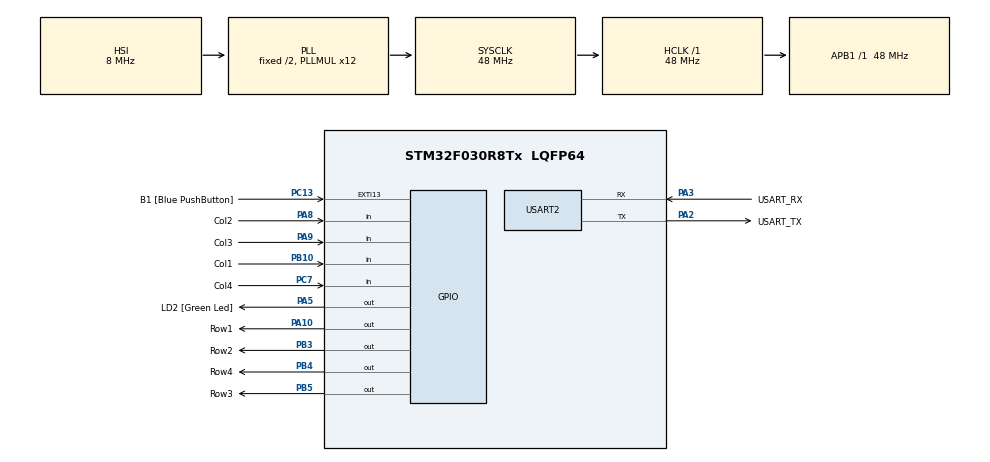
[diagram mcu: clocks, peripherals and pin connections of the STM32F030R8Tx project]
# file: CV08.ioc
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Mcu.Family=STM32F0
Mcu.Name=STM32F030R8Tx
Mcu.Package=LQFP64
NVIC.TIM3_IRQn=true\:0\:0\:false\:false\:true\:true\:true
PA10.GPIO_Label=Row1
PA10.GPIO_ModeDefaultOutputPP=GPIO_MODE_OUTPUT_OD
PA10.Signal=GPIO_Output
PA13.GPIO_Label=TMS
PA13.Mode=Serial_Wire
PA13.Signal=SYS_SWDIO
PA14.GPIO_Label=TCK
PA14.Mode=Serial_Wire
PA14.Signal=SYS_SWCLK
PA2.GPIO_Label=USART_TX
PA2.GPIO_Mode=GPIO_MODE_AF_PP
PA2.GPIO_PuPd=GPIO_NOPULL
PA2.GPIO_Speed=GPIO_SPEED_FREQ_LOW
PA2.Mode=Asynchronous
PA2.Signal=USART2_TX
PA3.GPIO_Label=USART_RX
PA3.GPIO_Mode=GPIO_MODE_AF_PP
PA3.GPIO_PuPd=GPIO_NOPULL
PA3.GPIO_Speed=GPIO_SPEED_FREQ_LOW
PA3.Mode=Asynchronous
PA3.Signal=USART2_RX
PA5.GPIO_Label=LD2 [Green Led]
PA5.GPIO_Mode=GPIO_MODE_OUTPUT_PP
PA5.GPIO_PuPd=GPIO_NOPULL
PA5.GPIO_Speed=GPIO_SPEED_FREQ_LOW
PA5.Signal=GPIO_Output
PA8.GPIO_Label=Col2
PA8.GPIO_PuPd=GPIO_PULLUP
PA8.Signal=GPIO_Input
PA9.GPIO_Label=Col3
PA9.GPIO_PuPd=GPIO_PULLUP
PA9.Signal=GPIO_Input
PB10.GPIO_Label=Col1
PB10.GPIO_PuPd=GPIO_PULLUP
PB10.Signal=GPIO_Input
PB3.GPIO_Label=Row2
PB3.GPIO_ModeDefaultOutputPP=GPIO_MODE_OUTPUT_OD
PB3.Signal=GPIO_Output
PB4.GPIO_Label=Row4
PB4.GPIO_ModeDefaultOutputPP=GPIO_MODE_OUTPUT_OD
PB4.Signal=GPIO_Output
PB5.GPIO_Label=Row3
PB5.GPIO_ModeDefaultOutputPP=GPIO_MODE_OUTPUT_OD
PB5.Signal=GPIO_Output
PC13.GPIO_Label=B1 [Blue PushButton]
PC13.GPIO_ModeDefaultEXTI=GPIO_MODE_IT_FALLING
PC13.Signal=GPXTI13
PC14-OSC32_IN.Mode=LSE-External-Oscillator
PC14-OSC32_IN.Signal=RCC_OSC32_IN
PC15-OSC32_OUT.Mode=LSE-External-Oscillator
PC15-OSC32_OUT.Signal=RCC_OSC32_OUT
PC7.GPIO_Label=Col4
PC7.GPIO_PuPd=GPIO_PULLUP
PC7.Signal=GPIO_Input
PF0-OSC_IN.Mode=HSE-External-Clock-Source
PF0-OSC_IN.Signal=RCC_OSC_IN
PF1-OSC_OUT.Signal=RCC_OSC_OUT
ProjectManager.HeapSize=0x200
ProjectManager.StackSize=0x400
ProjectManager.TargetToolchain=STM32CubeIDE
RCC.AHBFreq_Value=48000000
RCC.APB1Freq_Value=48000000
RCC.APB1TimFreq_Value=48000000
RCC.HCLKFreq_Value=48000000
RCC.PLLMUL=RCC_PLL_MUL12
RCC.SYSCLKFreq_VALUE=48000000
RCC.SYSCLKSource=RCC_SYSCLKSOURCE_PLLCLK
TIM3.AutoReloadPreload=TIM_AUTORELOAD_PRELOAD_ENABLE
TIM3.Period=99
TIM3.Prescaler=8399
USART2.VirtualMode-Asynchronous=VM_ASYNC
VP_TIM3_VS_ClockSourceINT.Mode=Internal
board=NUCLEO-F030R8

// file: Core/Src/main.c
/* USER CODE BEGIN Header */
/**
  ******************************************************************************
  * @file           : main.c
  * @brief          : Main program body
  ******************************************************************************
  * @attention
  *
  * <h2><center>&copy; Copyright (c) 2020 STMicroelectronics.
  * All rights reserved.</center></h2>
  *
  * This software component is licensed by ST under BSD 3-Clause license,
  * the "License"; You may not use this file except in compliance with the
  * License. You may obtain a copy of the License at:
  *                        opensource.org/licenses/BSD-3-Clause
  *
  ******************************************************************************
  */
/* USER CODE END Header */
#include "main.h"

/* USER CODE BEGIN Includes */

#include "stdio.h"

/* USER CODE END Includes */

TIM_HandleTypeDef htim3;

UART_HandleTypeDef huart2;

/* USER CODE BEGIN PV */

static volatile int8_t key = -1;

/* USER CODE END PV */

void SystemClock_Config(void);
static void MX_GPIO_Init(void);
static void MX_USART2_UART_Init(void);
static void MX_TIM3_Init(void);

/* USER CODE BEGIN 0 */

int _write(int file, char const *buf, int n)
	{
		HAL_UART_Transmit(&huart2, (uint8_t*) (buf), n, HAL_MAX_DELAY);
		return n;
	}

void HAL_TIM_PeriodElapsedCallback(TIM_HandleTypeDef *htim)
	{
	static int row = 0;
	static const int keyboard[4][4] = { { 1, 2, 3, 21 }, { 4, 5, 6, 22 }, { 7,
			8, 9, 23 }, { 11, 0, 12, 24 }, };
	if (key == -1)
	{
		if (HAL_GPIO_ReadPin(Col1_GPIO_Port, Col1_Pin) == GPIO_PIN_RESET)
			key = keyboard[row][0];
		if (HAL_GPIO_ReadPin(Col2_GPIO_Port, Col2_Pin) == GPIO_PIN_RESET)
			key = keyboard[row][1];
		if (HAL_GPIO_ReadPin(Col3_GPIO_Port, Col3_Pin) == GPIO_PIN_RESET)
			key = keyboard[row][2];
		if (HAL_GPIO_ReadPin(Col4_GPIO_Port, Col4_Pin) == GPIO_PIN_RESET)
			key = keyboard[row][3];

	}

	HAL_GPIO_WritePin(Row1_GPIO_Port, Row1_Pin, GPIO_PIN_SET);
	HAL_GPIO_WritePin(Row2_GPIO_Port, Row2_Pin, GPIO_PIN_SET);
	HAL_GPIO_WritePin(Row3_GPIO_Port, Row3_Pin, GPIO_PIN_SET);
	HAL_GPIO_WritePin(Row4_GPIO_Port, Row4_Pin, GPIO_PIN_SET);

	switch (row) {
	case 0:
		row = 1;
		HAL_GPIO_WritePin(Row2_GPIO_Port, Row2_Pin, GPIO_PIN_RESET);
		break;
	case 1:
		row = 2;
		HAL_GPIO_WritePin(Row3_GPIO_Port, Row3_Pin, GPIO_PIN_RESET);
		break;
	case 2:
			row = 3;
			HAL_GPIO_WritePin(Row4_GPIO_Port, Row4_Pin, GPIO_PIN_RESET);
			break;
	case 3:
			row = 0;
			HAL_GPIO_WritePin(Row1_GPIO_Port, Row1_Pin, GPIO_PIN_RESET);
			break;

	}
}

/* USER CODE END 0 */

int main(void)
{

  /* MCU Configuration--------------------------------------------------------*/

  /* Reset of all peripherals, Initializes the Flash interface and the Systick. */
  HAL_Init();

  /* Configure the system clock */
  SystemClock_Config();

  /* Initialize all configured peripherals */
  MX_GPIO_Init();
  MX_USART2_UART_Init();
  MX_TIM3_Init();
  /* USER CODE BEGIN 2 */

  HAL_TIM_Base_Start_IT(&htim3);
 // printf("Test\n");

  /* USER CODE END 2 */

  const uint8_t heslo[] = {7,9,3,2,12};
  uint8_t poz = 0;
  uint32_t timeout = HAL_GetTick();
  uint16_t delay = 3000;

  /* Infinite loop */
  while (1)
  {

    /* USER CODE BEGIN 3 */
	  if(timeout > delay + timeout )  //pokud je pri zadavani velka pauza
	 		 	 	 {

	 		 		 	 poz = 0;
	 		 		 	 printf("Timeout\n");
	 		 	 	 }

	  if(key != -1)
	  {
		 	 if(key == heslo[poz]) //v pripade ze se stisknute tlacitko rovna heslu
				 {
			 	 	 poz++;
			 	 	 printf("Stisknuto: %d\n", key);
			 	 	 key=-1;
				 }
		 	 else 						//spatne zadane heslo
		 	 	 {
		 		 	 poz=0;
		 		 	 printf("Chybne zadano.\n");
		 		 	 key=-1;
		 		 	 timeout = HAL_GetTick();
		 	 	 }

	  }
		 if(poz>4)					//spravne zadane vsechny casti hesla
		 	 {
			 	 HAL_GPIO_TogglePin(LD2_GPIO_Port, LD2_Pin);
			 	 poz = 0;
		 	 }

  }
		 /* USER CODE END 3 */
}

void SystemClock_Config(void)
{
  RCC_OscInitTypeDef RCC_OscInitStruct = {0};
  RCC_ClkInitTypeDef RCC_ClkInitStruct = {0};

  /** Initializes the RCC Oscillators according to the specified parameters
  * in the RCC_OscInitTypeDef structure.
  */
  RCC_OscInitStruct.OscillatorType = RCC_OSCILLATORTYPE_HSI;
  RCC_OscInitStruct.HSIState = RCC_HSI_ON;
  RCC_OscInitStruct.HSICalibrationValue = RCC_HSICALIBRATION_DEFAULT;
  RCC_OscInitStruct.PLL.PLLState = RCC_PLL_ON;
  RCC_OscInitStruct.PLL.PLLSource = RCC_PLLSOURCE_HSI;
  RCC_OscInitStruct.PLL.PLLMUL = RCC_PLL_MUL12;
  RCC_OscInitStruct.PLL.PREDIV = RCC_PREDIV_DIV1;
  if (HAL_RCC_OscConfig(&RCC_OscInitStruct) != HAL_OK)
  {
    Error_Handler();
  }
  /** Initializes the CPU, AHB and APB buses clocks
  */
  RCC_ClkInitStruct.ClockType = RCC_CLOCKTYPE_HCLK|RCC_CLOCKTYPE_SYSCLK
                              |RCC_CLOCKTYPE_PCLK1;
  RCC_ClkInitStruct.SYSCLKSource = RCC_SYSCLKSOURCE_PLLCLK;
  RCC_ClkInitStruct.AHBCLKDivider = RCC_SYSCLK_DIV1;
  RCC_ClkInitStruct.APB1CLKDivider = RCC_HCLK_DIV1;

  if (HAL_RCC_ClockConfig(&RCC_ClkInitStruct, FLASH_LATENCY_1) != HAL_OK)
  {
    Error_Handler();
  }
}

static void MX_TIM3_Init(void)
{

  TIM_ClockConfigTypeDef sClockSourceConfig = {0};
  TIM_MasterConfigTypeDef sMasterConfig = {0};

  htim3.Instance = TIM3;
  htim3.Init.Prescaler = 8399;
  htim3.Init.CounterMode = TIM_COUNTERMODE_UP;
  htim3.Init.Period = 99;
  htim3.Init.ClockDivision = TIM_CLOCKDIVISION_DIV1;
  htim3.Init.AutoReloadPreload = TIM_AUTORELOAD_PRELOAD_ENABLE;
  if (HAL_TIM_Base_Init(&htim3) != HAL_OK)
  {
    Error_Handler();
  }
  sClockSourceConfig.ClockSource = TIM_CLOCKSOURCE_INTERNAL;
  if (HAL_TIM_ConfigClockSource(&htim3, &sClockSourceConfig) != HAL_OK)
  {
    Error_Handler();
  }
  sMasterConfig.MasterOutputTrigger = TIM_TRGO_RESET;
  sMasterConfig.MasterSlaveMode = TIM_MASTERSLAVEMODE_DISABLE;
  if (HAL_TIMEx_MasterConfigSynchronization(&htim3, &sMasterConfig) != HAL_OK)
  {
    Error_Handler();
  }

}

static void MX_USART2_UART_Init(void)
{

  huart2.Instance = USART2;
  huart2.Init.BaudRate = 38400;
  huart2.Init.WordLength = UART_WORDLENGTH_8B;
  huart2.Init.StopBits = UART_STOPBITS_1;
  huart2.Init.Parity = UART_PARITY_NONE;
  huart2.Init.Mode = UART_MODE_TX_RX;
  huart2.Init.HwFlowCtl = UART_HWCONTROL_NONE;
  huart2.Init.OverSampling = UART_OVERSAMPLING_16;
  huart2.Init.OneBitSampling = UART_ONE_BIT_SAMPLE_DISABLE;
  huart2.AdvancedInit.AdvFeatureInit = UART_ADVFEATURE_NO_INIT;
  if (HAL_UART_Init(&huart2) != HAL_OK)
  {
    Error_Handler();
  }

}

static void MX_GPIO_Init(void)
{
  GPIO_InitTypeDef GPIO_InitStruct = {0};

  /* GPIO Ports Clock Enable */
  __HAL_RCC_GPIOC_CLK_ENABLE();
  __HAL_RCC_GPIOF_CLK_ENABLE();
  __HAL_RCC_GPIOA_CLK_ENABLE();
  __HAL_RCC_GPIOB_CLK_ENABLE();

  /*Configure GPIO pin Output Level */
  HAL_GPIO_WritePin(GPIOA, LD2_Pin|Row1_Pin, GPIO_PIN_RESET);

  /*Configure GPIO pin Output Level */
  HAL_GPIO_WritePin(GPIOB, Row2_Pin|Row4_Pin|Row3_Pin, GPIO_PIN_RESET);

  /*Configure GPIO pin : B1_Pin */
  GPIO_InitStruct.Pin = B1_Pin;
  GPIO_InitStruct.Mode = GPIO_MODE_IT_FALLING;
  GPIO_InitStruct.Pull = GPIO_NOPULL;
  HAL_GPIO_Init(B1_GPIO_Port, &GPIO_InitStruct);

  /*Configure GPIO pin : LD2_Pin */
  GPIO_InitStruct.Pin = LD2_Pin;
  GPIO_InitStruct.Mode = GPIO_MODE_OUTPUT_PP;
  GPIO_InitStruct.Pull = GPIO_NOPULL;
  GPIO_InitStruct.Speed = GPIO_SPEED_FREQ_LOW;
  HAL_GPIO_Init(LD2_GPIO_Port, &GPIO_InitStruct);

  /*Configure GPIO pin : Col1_Pin */
  GPIO_InitStruct.Pin = Col1_Pin;
  GPIO_InitStruct.Mode = GPIO_MODE_INPUT;
  GPIO_InitStruct.Pull = GPIO_PULLUP;
  HAL_GPIO_Init(Col1_GPIO_Port, &GPIO_InitStruct);

  /*Configure GPIO pin : Col4_Pin */
  GPIO_InitStruct.Pin = Col4_Pin;
  GPIO_InitStruct.Mode = GPIO_MODE_INPUT;
  GPIO_InitStruct.Pull = GPIO_PULLUP;
  HAL_GPIO_Init(Col4_GPIO_Port, &GPIO_InitStruct);

  /*Configure GPIO pins : Col2_Pin Col3_Pin */
  GPIO_InitStruct.Pin = Col2_Pin|Col3_Pin;
  GPIO_InitStruct.Mode = GPIO_MODE_INPUT;
  GPIO_InitStruct.Pull = GPIO_PULLUP;
  HAL_GPIO_Init(GPIOA, &GPIO_InitStruct);

  /*Configure GPIO pin : Row1_Pin */
  GPIO_InitStruct.Pin = Row1_Pin;
  GPIO_InitStruct.Mode = GPIO_MODE_OUTPUT_OD;
  GPIO_InitStruct.Pull = GPIO_NOPULL;
  GPIO_InitStruct.Speed = GPIO_SPEED_FREQ_LOW;
  HAL_GPIO_Init(Row1_GPIO_Port, &GPIO_InitStruct);

  /*Configure GPIO pins : Row2_Pin Row4_Pin Row3_Pin */
  GPIO_InitStruct.Pin = Row2_Pin|Row4_Pin|Row3_Pin;
  GPIO_InitStruct.Mode = GPIO_MODE_OUTPUT_OD;
  GPIO_InitStruct.Pull = GPIO_NOPULL;
  GPIO_InitStruct.Speed = GPIO_SPEED_FREQ_LOW;
  HAL_GPIO_Init(GPIOB, &GPIO_InitStruct);

}

void Error_Handler(void)
{
}

/************************ (C) COPYRIGHT STMicroelectronics *****END OF FILE****/
